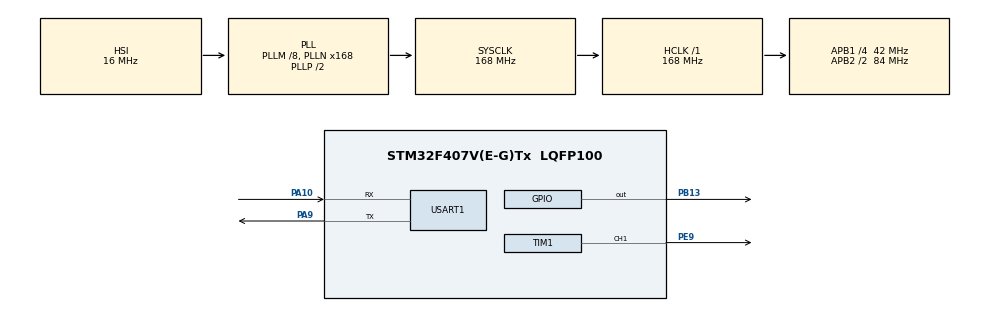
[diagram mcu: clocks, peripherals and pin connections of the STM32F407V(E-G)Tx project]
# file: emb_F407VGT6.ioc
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Mcu.Family=STM32F4
Mcu.Name=STM32F407V(E-G)Tx
Mcu.Package=LQFP100
NVIC.PriorityGroup=NVIC_PRIORITYGROUP_4
NVIC.USART1_IRQn=true\:0\:0\:false\:false\:true\:true\:true\:true
PA10.Mode=Asynchronous
PA10.Signal=USART1_RX
PA13.Mode=Serial_Wire
PA13.Signal=SYS_JTMS-SWDIO
PA14.Mode=Serial_Wire
PA14.Signal=SYS_JTCK-SWCLK
PA9.Mode=Asynchronous
PA9.Signal=USART1_TX
PB13.PinState=GPIO_PIN_RESET
PB13.Signal=GPIO_Output
PE9.Signal=S_TIM1_CH1
PH0-OSC_IN.Mode=HSE-External-Oscillator
PH0-OSC_IN.Signal=RCC_OSC_IN
PH1-OSC_OUT.Mode=HSE-External-Oscillator
PH1-OSC_OUT.Signal=RCC_OSC_OUT
ProjectManager.HeapSize=0x600
ProjectManager.StackSize=0x600
ProjectManager.TargetToolchain=MDK-ARM V5.32
RCC.48MHZClocksFreq_Value=84000000
RCC.AHBFreq_Value=168000000
RCC.APB1CLKDivider=RCC_HCLK_DIV4
RCC.APB1Freq_Value=42000000
RCC.APB1TimFreq_Value=84000000
RCC.APB2CLKDivider=RCC_HCLK_DIV2
RCC.APB2Freq_Value=84000000
RCC.APB2TimFreq_Value=168000000
RCC.CortexFreq_Value=168000000
RCC.HCLKFreq_Value=168000000
RCC.HSE_VALUE=25000000
RCC.HSI_VALUE=16000000
RCC.LSE_VALUE=32768
RCC.PLLM=8
RCC.PLLN=168
RCC.SYSCLKFreq_VALUE=168000000
RCC.SYSCLKSource=RCC_SYSCLKSOURCE_PLLCLK
RCC.VCOOutputFreq_Value=336000000
SH.S_TIM1_CH1.0=TIM1_CH1,PWM Generation1 CH1
TIM1.AutoReloadPreload=TIM_AUTORELOAD_PRELOAD_ENABLE
TIM1.Channel-PWM\ Generation1\ CH1=TIM_CHANNEL_1
TIM1.Period=1000-1
TIM1.Prescaler=168-1
USART1.VirtualMode=VM_ASYNC
VP_TIM1_VS_ClockSourceINT.Mode=Internal
board=custom

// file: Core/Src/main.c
/* USER CODE BEGIN Header */
/**
  ******************************************************************************
  * @file           : main.c
  * @brief          : Main program body
  ******************************************************************************
  * @attention
  *
  * Copyright (c) 2025 STMicroelectronics.
  * All rights reserved.
  *
  * This software is licensed under terms that can be found in the LICENSE file
  * in the root directory of this software component.
  * If no LICENSE file comes with this software, it is provided AS-IS.
  *
  ******************************************************************************
  */
/* USER CODE END Header */
#include "main.h"
#include "tim.h"
#include "usart.h"
#include "gpio.h"

/* USER CODE BEGIN PV */
volatile uint32_t tdelay=0,t0;
/* USER CODE END PV */

void SystemClock_Config(void);

/* USER CODE BEGIN 0 */
  //重定向printf
  int fputc(int ch, FILE *f){
    HAL_UART_Transmit(&huart1, (uint8_t *)&ch, 1, HAL_MAX_DELAY);
    return ch;
  }

/* USER CODE END 0 */

int main(void)
{

  /* MCU Configuration--------------------------------------------------------*/

  /* Reset of all peripherals, Initializes the Flash interface and the Systick. */
  HAL_Init();

  /* Configure the system clock */
  SystemClock_Config();

  /* Initialize all configured peripherals */
  MX_GPIO_Init();
  MX_USART1_UART_Init();
  MX_TIM1_Init();
  /* USER CODE BEGIN 2 */
  WaterPump_Init();
  delay_init();
  HX711_Init();
  HAL_Delay(1000);
  //int32_t data0=HX711_Read();
  Get_Maopi();
  // WaterPump(1);
  // HAL_Delay(1000);
  // WaterPump(0);
//  BH1750_Init();
//  HAL_Delay(1000);//等待数据读取
//  uint16_t lux=BH1750_Read();//读取数据
//  printf("lux:%d\n",lux);

  HAL_Delay(1000);
  printf("oko\n");
  HAL_TIM_PWM_Start(&htim1,TIM_CHANNEL_1);
  HAL_TIM_PWM_Stop(&htim1,TIM_CHANNEL_1);
  /* USER CODE END 2 */

  /* Infinite loop */
  while (1)
  {

    /* USER CODE BEGIN 3 */

//  HAL_Delay(1000);//等待数据读取
//  float lux=BH1750_Read();//读取数据
//  BH1750_Stop();//停止
//  HAL_Delay(100);
//  printf("lux:%.2f\n",lux);

//	  tdelay=HAL_GetTick()-t0;
//	  delay_ms(500);
//	  t0=HAL_GetTick();

	  //delay_ms(100);
	//int32_t test=HX711_Read()-data0;
	int32_t test=Get_Weight_Value();

	//t=HAL_GetTick()-t0;
	printf("weight:%d\n",test);
	HAL_Delay(1000);

  }
  /* USER CODE END 3 */
}

void SystemClock_Config(void)
{
  RCC_OscInitTypeDef RCC_OscInitStruct = {0};
  RCC_ClkInitTypeDef RCC_ClkInitStruct = {0};

  /** Configure the main internal regulator output voltage
  */
  __HAL_RCC_PWR_CLK_ENABLE();
  __HAL_PWR_VOLTAGESCALING_CONFIG(PWR_REGULATOR_VOLTAGE_SCALE1);

  /** Initializes the RCC Oscillators according to the specified parameters
  * in the RCC_OscInitTypeDef structure.
  */
  RCC_OscInitStruct.OscillatorType = RCC_OSCILLATORTYPE_HSI;
  RCC_OscInitStruct.HSIState = RCC_HSI_ON;
  RCC_OscInitStruct.HSICalibrationValue = RCC_HSICALIBRATION_DEFAULT;
  RCC_OscInitStruct.PLL.PLLState = RCC_PLL_ON;
  RCC_OscInitStruct.PLL.PLLSource = RCC_PLLSOURCE_HSI;
  RCC_OscInitStruct.PLL.PLLM = 8;
  RCC_OscInitStruct.PLL.PLLN = 168;
  RCC_OscInitStruct.PLL.PLLP = RCC_PLLP_DIV2;
  RCC_OscInitStruct.PLL.PLLQ = 4;
  if (HAL_RCC_OscConfig(&RCC_OscInitStruct) != HAL_OK)
  {
    Error_Handler();
  }

  /** Initializes the CPU, AHB and APB buses clocks
  */
  RCC_ClkInitStruct.ClockType = RCC_CLOCKTYPE_HCLK|RCC_CLOCKTYPE_SYSCLK
                              |RCC_CLOCKTYPE_PCLK1|RCC_CLOCKTYPE_PCLK2;
  RCC_ClkInitStruct.SYSCLKSource = RCC_SYSCLKSOURCE_PLLCLK;
  RCC_ClkInitStruct.AHBCLKDivider = RCC_SYSCLK_DIV1;
  RCC_ClkInitStruct.APB1CLKDivider = RCC_HCLK_DIV4;
  RCC_ClkInitStruct.APB2CLKDivider = RCC_HCLK_DIV2;

  if (HAL_RCC_ClockConfig(&RCC_ClkInitStruct, FLASH_LATENCY_5) != HAL_OK)
  {
    Error_Handler();
  }
}

void Error_Handler(void)
{
  __disable_irq();
  while (1)
  {
  }
}
